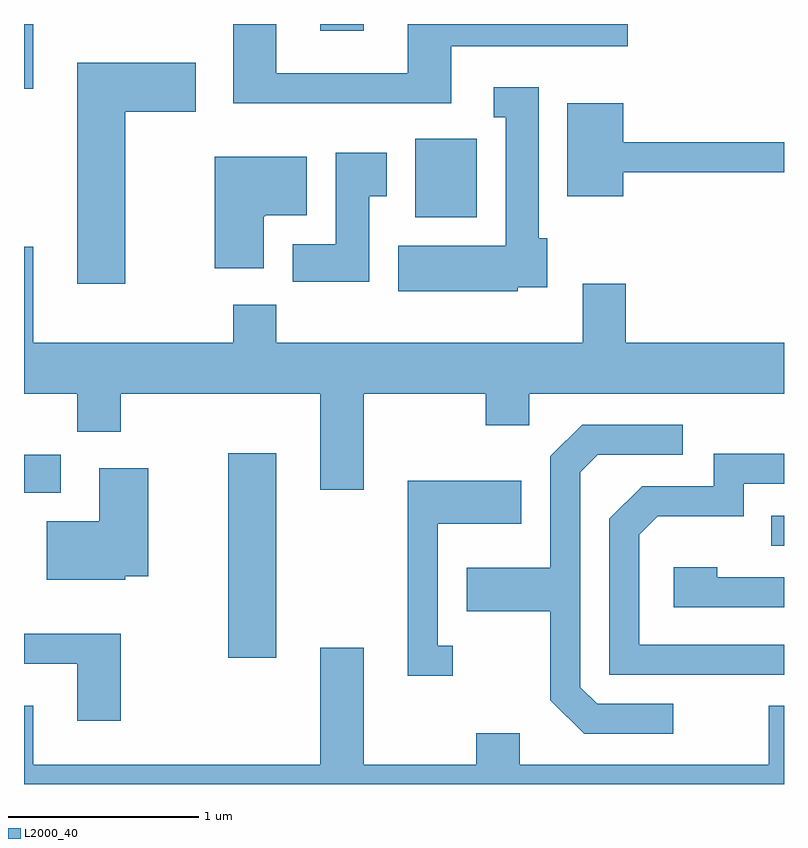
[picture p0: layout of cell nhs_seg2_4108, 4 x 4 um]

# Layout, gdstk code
import gdstk
lib = gdstk.Library(unit=1e-6, precision=1e-09)
def R(c, l, rs):  # rectangles x0, y0, x1, y1
    for r in rs: c.add(gdstk.rectangle(r[:2], r[2:], *l))
def P(c, l, *ps):  # polygons
    for p in ps: c.add(gdstk.Polygon(p, *l))
L2000_40 = (2000, 40)

nhs_seg2_4108 = lib.new_cell('nhs_seg2_4108')
R(nhs_seg2_4108, L2000_40, [(306.686,1062.466,306.939,1063.544), (309.543,1063.056,309.611,1063.214), (305.611,1063.336,305.804,1063.534), (307.671,1064.786,307.994,1065.199), (305.611,1065.461,305.659,1065.802), (307.171,1065.766,307.399,1065.802)])
P(nhs_seg2_4108, L2000_40, [(307.859,1065.686),(308.788,1065.686),(308.788,1065.802),(307.631,1065.802),(307.631,1065.544),(306.939,1065.544),(306.939,1065.802),(306.711,1065.802),(306.711,1065.386),(307.859,1065.386)],
  [(306.144,1065.341),(306.514,1065.341),(306.514,1065.599),(305.891,1065.599),(305.891,1064.436),(306.144,1064.436)],
  [(308.209,1064.416),(308.364,1064.416),(308.364,1064.674),(308.319,1064.674),(308.319,1065.469),(308.083,1065.469),(308.083,1065.311),(308.146,1065.311),(308.146,1064.634),(307.581,1064.634),(307.581,1064.396),(308.209,1064.396)],
  [(308.764,1065.021),(309.611,1065.021),(309.611,1065.179),(308.764,1065.179),(308.764,1065.384),(308.471,1065.384),(308.471,1064.896),(308.764,1064.896)],
  [(307.429,1064.896),(307.519,1064.896),(307.519,1065.124),(307.251,1065.124),(307.251,1064.644),(307.026,1064.644),(307.026,1064.446),(307.429,1064.446)],
  [(306.874,1064.79),(306.88,1064.79),(306.88,1064.796),(307.099,1064.796),(307.099,1065.104),(306.616,1065.104),(306.616,1064.516),(306.874,1064.516)],
  [(307.399,1063.856),(308.041,1063.856),(308.041,1063.691),(308.269,1063.691),(308.269,1063.856),(309.611,1063.856),(309.611,1064.124),(308.779,1064.124),(308.779,1064.434),(308.551,1064.434),(308.551,1064.124),(306.939,1064.124),(306.939,1064.324),(306.711,1064.324),(306.711,1064.124),(305.659,1064.124),(305.659,1064.629),(305.611,1064.629),(305.611,1063.856),(305.891,1063.856),(305.891,1063.656),(306.119,1063.656),(306.119,1063.856),(307.171,1063.856),(307.171,1063.351),(307.399,1063.351)],
  [(309.028,1062.224),(308.627,1062.224),(308.539,1062.312),(308.539,1063.444),(308.632,1063.536),(309.078,1063.536),(309.078,1063.694),(308.549,1063.694),(308.381,1063.527),(308.381,1062.939),(307.941,1062.939),(307.941,1062.711),(308.381,1062.711),(308.381,1062.244),(308.559,1062.066),(309.028,1062.066)],
  [(309.611,1062.534),(308.849,1062.534),(308.849,1063.114),(308.947,1063.211),(309.399,1063.211),(309.399,1063.381),(309.611,1063.381),(309.611,1063.539),(309.241,1063.539),(309.241,1063.369),(308.864,1063.369),(308.691,1063.197),(308.691,1062.376),(309.611,1062.376)],
  [(306.144,1062.896),(306.264,1062.896),(306.264,1063.464),(306.006,1063.464),(306.006,1063.184),(305.731,1063.184),(305.731,1062.876),(306.144,1062.876)],
  [(307.868,1062.529),(307.789,1062.529),(307.789,1063.171),(308.229,1063.171),(308.229,1063.399),(307.631,1063.399),(307.631,1062.371),(307.868,1062.371)],
  [(309.611,1062.889),(309.259,1062.889),(309.259,1062.944),(309.031,1062.944),(309.031,1062.731),(309.611,1062.731)],
  [(306.119,1062.594),(305.611,1062.594),(305.611,1062.436),(305.891,1062.436),(305.891,1062.136),(306.119,1062.136)],
  [(309.611,1062.214),(309.531,1062.214),(309.531,1061.904),(308.219,1061.904),(308.219,1062.069),(307.991,1062.069),(307.991,1061.904),(307.399,1061.904),(307.399,1062.519),(307.171,1062.519),(307.171,1061.904),(305.659,1061.904),(305.659,1062.214),(305.611,1062.214),(305.611,1061.802),(309.611,1061.802)])

lib.write_gds('nhs_seg2_4108.gds')
